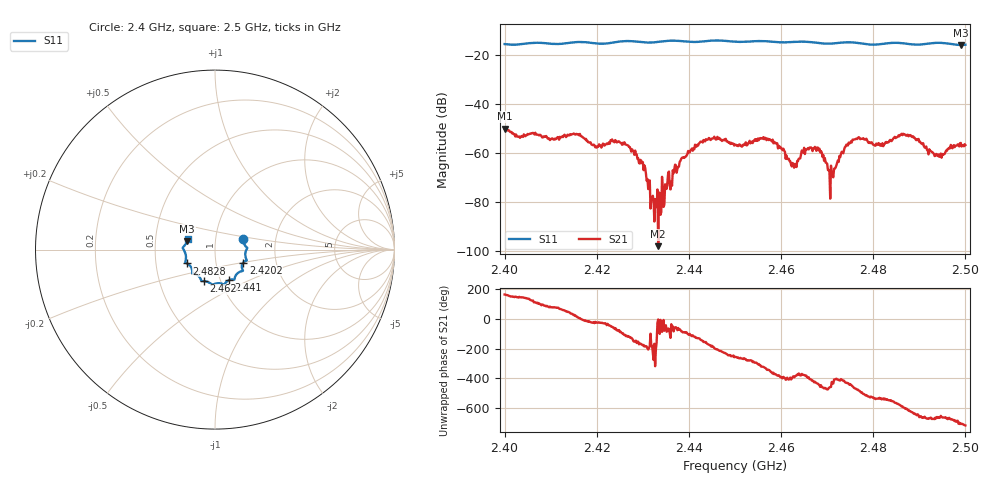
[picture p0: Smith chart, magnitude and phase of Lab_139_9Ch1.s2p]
# Hz S RI R 50
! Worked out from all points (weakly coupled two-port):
!   601 points, 2.4 GHz to 2.5 GHz, reference 50 ohm
!   highest |S21| = -49.97 dB at 2.4 GHz (marker M1); lowest = -98.1 dB at 2.4333 GHz (marker M2)
!   lowest |S11| = -15.8 dB at 2.499 GHz (marker M3), VSWR 1.39, Z = 36.4 + j3.54 ohm
!   |S11| at or under -10 dB: start of sweep to end of sweep
!   S12 and S22 are empty: the file has one direction only
!   S11 on the Smith chart (normalised r, x): 2.4 GHz: 1.36, +0.17; 2.4202 GHz: 1.36, -0.20; 2.441 GHz: 1.10, -0.39; 2.462 GHz: 0.84, -0.30; 2.4828 GHz: 0.72, -0.11; 2.5 GHz: 0.73, +0.09
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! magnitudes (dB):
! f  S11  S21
! 2.4 GHz  -15.4  -50.0
! 2.4167 GHz  -14.6  -53.1
! 2.4202 GHz  -15.2  -57.4
! 2.4265 GHz  -14.2  -56.8
! 2.43 GHz  -14.7  -63.7
! 2.4322 GHz  -14.7  -77.5
! 2.4333 GHz  -14.5  -98.1
! 2.441 GHz  -14.6  -58.1
! 2.4457 GHz  -13.9  -54.0
! 2.45 GHz  -14.4  -56.6
! 2.4577 GHz  -14.4  -54.7
! 2.462 GHz  -14.6  -63.4
! 2.4667 GHz  -14.6  -58.2
! 2.4683 GHz  -15.0  -58.2
! 2.4708 GHz  -15.2  -65.2
! 2.4757 GHz  -14.7  -54.5
! 2.4828 GHz  -15.1  -55.5
! 2.4833 GHz  -15.0  -55.6
! 2.4878 GHz  -15.4  -52.8
! 2.4938 GHz  -14.9  -60.6
! 2.499 GHz  -15.8  -55.9
! 2.5 GHz  -15.7  -56.8
